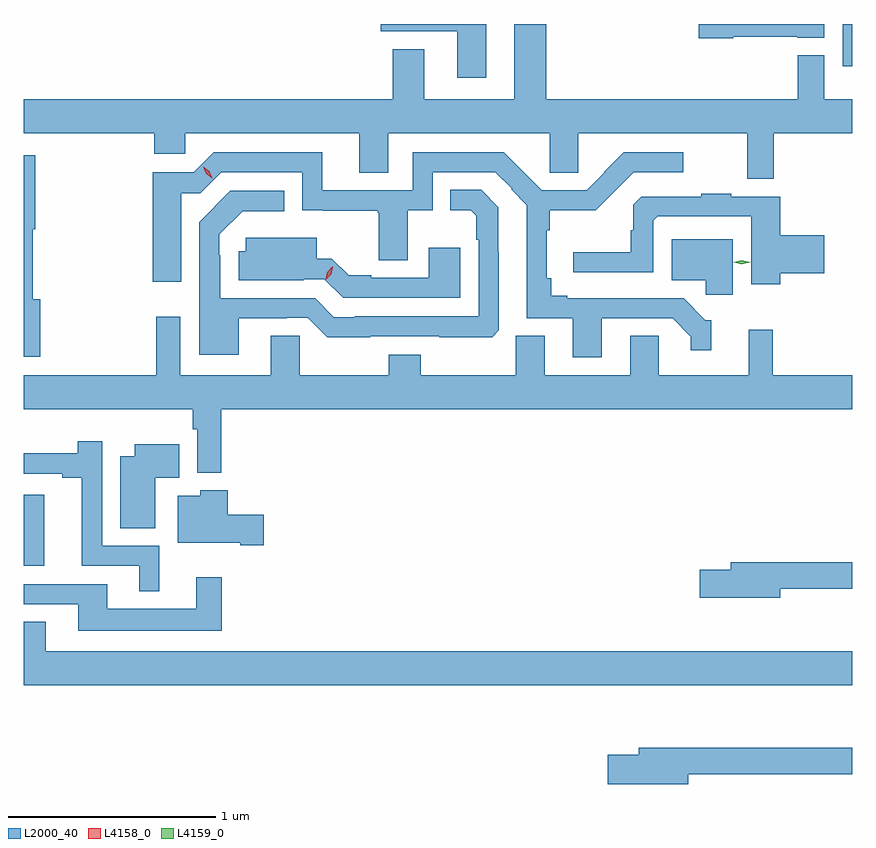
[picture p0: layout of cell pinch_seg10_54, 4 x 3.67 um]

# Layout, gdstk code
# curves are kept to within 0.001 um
import gdstk
lib = gdstk.Library(unit=1e-6, precision=1e-09)
def R(c, l, rs):  # rectangles x0, y0, x1, y1
    for r in rs: c.add(gdstk.rectangle(r[:2], r[2:], *l))
def P(c, l, *ps):  # polygons
    for p in ps: c.add(gdstk.Polygon(p, *l))
L2000_40 = (2000, 40)
L4158_0 = (4158, 0)
L4159_0 = (4159, 0)

pinch_seg10_54 = lib.new_cell('pinch_seg10_54')
R(pinch_seg10_54, L2000_40, [(840.06,1303.556,840.16,1303.9), (844.014,1305.968,844.06,1306.172)])
P(pinch_seg10_54, L2000_40, [(842.582,1306.172),(842.429,1306.172),(842.429,1305.808),(841.993,1305.808),(841.993,1306.051),(841.841,1306.051),(841.841,1305.808),(840.06,1305.808),(840.06,1305.644),(840.689,1305.644),(840.689,1305.546),(840.84,1305.546),(840.84,1305.644),(841.679,1305.644),(841.679,1305.454),(841.819,1305.454),(841.819,1305.644),(842.599,1305.644),(842.599,1305.454),(842.736,1305.454),(842.736,1305.644),(843.552,1305.644),(843.552,1305.426),(843.68,1305.426),(843.68,1305.644),(844.06,1305.644),(844.06,1305.808),(843.925,1305.808),(843.925,1306.021),(843.797,1306.021),(843.797,1305.808),(842.582,1305.808)],
  [(843.486,1306.11),(843.795,1306.11),(843.795,1306.106),(843.925,1306.106),(843.925,1306.172),(843.32,1306.172),(843.32,1306.102),(843.486,1306.102)],
  [(842.293,1306.172),(841.784,1306.172),(841.784,1306.136),(842.153,1306.136),(842.153,1305.912),(842.293,1305.912)],
  [(842.851,1304.751),(843.193,1304.751),(843.281,1304.663),(843.281,1304.598),(843.38,1304.598),(843.38,1304.742),(843.351,1304.742),(843.246,1304.847),(842.683,1304.847),(842.683,1304.86),(842.606,1304.86),(842.606,1304.944),(842.586,1304.944),(842.586,1305.176),(842.599,1305.176),(842.599,1305.272),(842.821,1305.272),(843.006,1305.456),(843.244,1305.456),(843.244,1305.552),(842.957,1305.552),(842.863,1305.458),(842.865,1305.456),(842.778,1305.369),(842.562,1305.369),(842.377,1305.552),(841.938,1305.552),(841.938,1305.369),(841.501,1305.369),(841.501,1305.552),(840.978,1305.552),(840.882,1305.456),(840.683,1305.456),(840.683,1304.928),(840.82,1304.928),(840.82,1305.354),(840.912,1305.354),(841.014,1305.456),(841.404,1305.456),(841.404,1305.272),(841.768,1305.271),(841.768,1305.261),(841.775,1305.261),(841.775,1305.031),(841.915,1305.031),(841.915,1305.272),(842.034,1305.272),(842.034,1305.456),(842.337,1305.456),(842.415,1305.378),(842.413,1305.375),(842.489,1305.298),(842.489,1304.751),(842.711,1304.751),(842.711,1304.562),(842.851,1304.562)],
  [(840.14,1304.844),(840.103,1304.844),(840.103,1305.182),(840.116,1305.182),(840.116,1305.538),(840.06,1305.538),(840.06,1304.565),(840.14,1304.565)],
  [(841.099,1304.751),(841.331,1304.751),(841.331,1304.754),(841.431,1304.754),(841.525,1304.66),(841.733,1304.66),(841.733,1304.664),(842.065,1304.664),(842.065,1304.66),(842.321,1304.66),(842.354,1304.693),(842.354,1305.073),(842.352,1305.073),(842.352,1305.288),(842.269,1305.371),(842.119,1305.371),(842.119,1305.272),(842.219,1305.272),(842.244,1305.246),(842.244,1305.131),(842.256,1305.131),(842.256,1304.76),(841.657,1304.76),(841.657,1304.757),(841.557,1304.757),(841.467,1304.847),(841.009,1304.847),(841.009,1305.056),(841.005,1305.056),(841.005,1305.156),(841.118,1305.269),(841.318,1305.269),(841.318,1305.366),(841.058,1305.366),(840.908,1305.216),(840.908,1304.576),(841.099,1304.576)],
  [(843.713,1304.969),(843.925,1304.969),(843.925,1305.152),(843.713,1305.152),(843.713,1305.339),(843.476,1305.339),(843.476,1305.352),(843.331,1305.352),(843.331,1305.339),(843.042,1305.339),(843.003,1305.3),(843.003,1305.176),(842.991,1305.176),(842.991,1305.071),(842.712,1305.071),(842.712,1304.973),(843.099,1304.973),(843.099,1305.222),(843.12,1305.243),(843.572,1305.243),(843.572,1304.916),(843.713,1304.916)],
  [(842.167,1305.091),(842.015,1305.091),(842.015,1304.946),(841.738,1304.946),(841.738,1304.958),(841.628,1304.958),(841.548,1305.038),(841.474,1305.038),(841.474,1305.139),(841.131,1305.139),(841.131,1305.076),(841.097,1305.076),(841.097,1304.936),(841.412,1304.936),(841.412,1304.94),(841.512,1304.94),(841.602,1304.85),(842.167,1304.85)],
  [(843.484,1305.133),(843.188,1305.133),(843.188,1304.936),(843.352,1304.936),(843.352,1304.864),(843.484,1304.864)],
  [(844.06,1304.476),(843.677,1304.476),(843.677,1304.695),(843.56,1304.695),(843.56,1304.476),(843.126,1304.476),(843.126,1304.666),(842.987,1304.666),(842.987,1304.476),(842.575,1304.476),(842.575,1304.666),(842.435,1304.666),(842.435,1304.476),(841.977,1304.476),(841.977,1304.575),(841.822,1304.575),(841.822,1304.476),(841.392,1304.476),(841.392,1304.666),(841.253,1304.666),(841.253,1304.476),(840.816,1304.476),(840.816,1304.758),(840.7,1304.758),(840.7,1304.476),(840.06,1304.476),(840.06,1304.312),(840.877,1304.312),(840.877,1304.216),(840.897,1304.216),(840.897,1304.006),(841.013,1304.006),(841.013,1304.312),(844.06,1304.312)],
  [(840.715,1303.653),(840.438,1303.653),(840.438,1304.158),(840.322,1304.158),(840.322,1304.099),(840.06,1304.099),(840.06,1304.001),(840.245,1304.001),(840.245,1303.981),(840.341,1303.981),(840.341,1303.557),(840.617,1303.557),(840.617,1303.433),(840.715,1303.433)],
  [(840.694,1303.982),(840.812,1303.982),(840.812,1304.143),(840.596,1304.143),(840.596,1304.086),(840.527,1304.086),(840.527,1303.738),(840.694,1303.738)],
  [(841.219,1303.802),(841.046,1303.802),(841.046,1303.921),(840.912,1303.921),(840.912,1303.894),(840.803,1303.894),(840.803,1303.667),(841.106,1303.667),(841.106,1303.655),(841.219,1303.655)],
  [(843.712,1303.446),(844.06,1303.446),(844.06,1303.574),(843.473,1303.574),(843.473,1303.538),(843.324,1303.538),(843.324,1303.403),(843.712,1303.403)],
  [(841.015,1303.501),(840.893,1303.501),(840.893,1303.348),(840.463,1303.348),(840.463,1303.467),(840.06,1303.467),(840.06,1303.371),(840.323,1303.371),(840.323,1303.244),(841.015,1303.244)],
  [(844.06,1303.144),(840.166,1303.144),(840.166,1303.286),(840.06,1303.286),(840.06,1302.98),(844.06,1302.98)],
  [(843.268,1302.55),(844.06,1302.55),(844.06,1302.679),(843.029,1302.679),(843.029,1302.645),(842.88,1302.645),(842.88,1302.503),(843.268,1302.503)])
P(pinch_seg10_54, L4158_0, [(841.518,1304.937),(841.526,1304.974),(841.55,1305.001),(841.551,1305.001),(841.551,1305.001),(841.544,1304.965),(841.519,1304.937),(841.519,1304.937)],
  [(840.97,1305.427),(840.94,1305.449),(840.926,1305.483),(840.926,1305.483),(840.927,1305.483),(840.956,1305.461),(840.97,1305.427),(840.97,1305.427)])
P(pinch_seg10_54, L4159_0, [(843.527,1305.012),(843.488,1305.022),(843.488,1305.022),(843.488,1305.022),(843.527,1305.032),(843.567,1305.022),(843.567,1305.022),(843.567,1305.022)])

lib.write_gds('pinch_seg10_54.gds')
